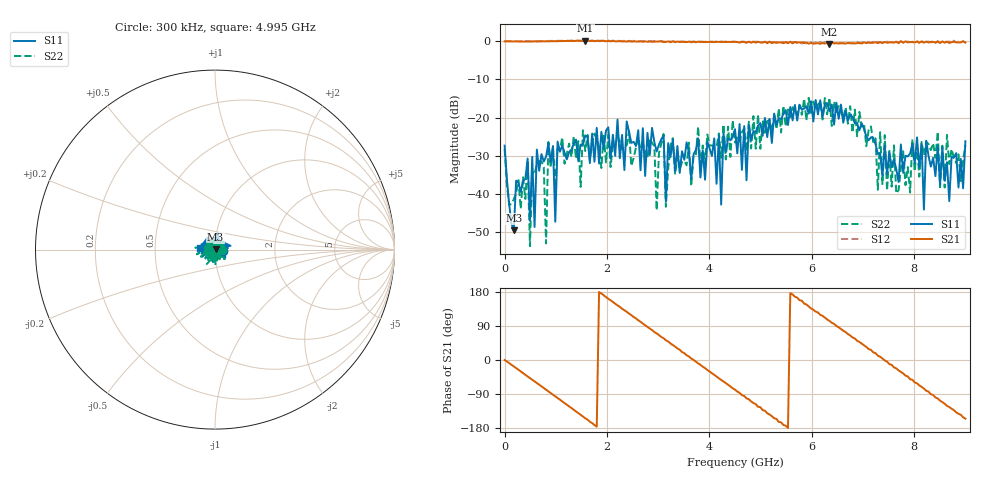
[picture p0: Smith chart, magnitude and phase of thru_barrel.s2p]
!Agilent Technologies,E8358A,US40210021,A.06.04.30
!Agilent E8358A: A.06.04.30
!Date: Sunday, April 15, 2018 12:17:16
!Correction: S11(Full 2 Port(1,2)) S21(Full 2 Port(1,2)) S12(Full 2 Port(1,2)) S22(Full 2 Port(1,2))
!S2P File: Measurements: S11, S21, S12, S22:
# Hz S  RI  R 50
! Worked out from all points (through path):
!   201 points, 300 kHz to 9 GHz, reference 50 ohm
!   highest |S21| = 0.14 dB at 1.575 GHz (marker M1); lowest = -0.7 dB at 6.345 GHz (marker M2)
!   group delay of S21, straight-line fit = 270 ps
!   lowest |S11| = -49.5 dB at 180.3 MHz (marker M3), VSWR 1.01, Z = 50.3 + j0.106 ohm
!   |S11| at or under -10 dB: start of sweep to end of sweep
!   |S22| runs from -53.6 to -14.8 dB; largest |S21 - S12| = 0.059
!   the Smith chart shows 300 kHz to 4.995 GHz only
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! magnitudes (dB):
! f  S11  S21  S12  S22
! 300 kHz  -27.3  0.0  0.1  -28.2
! 180.3 MHz  -49.5  0.0  0.1  -41.3
! 450.3 MHz  -30.7  -0.1  0.1  -31.2
! 495.3 MHz  -46.9  -0.1  0.1  -53.6
! 720.3 MHz  -29.5  0.0  0.1  -31.5
! 810.3 MHz  -30.2  0.0  0.1  -52.9
! 855.3 MHz  -26.7  0.0  0.1  -26.3
! 990.3 MHz  -47.2  0.0  0.1  -38.4
! 1.035 GHz  -26.3  0.0  0.1  -27.4
! 1.53 GHz  -27.1  0.1  0.2  -23.3
! 1.575 GHz  -24.7  0.1  0.2  -28.8
! 3.015 GHz  -27.1  -0.1  0.0  -29.2
! 4.185 GHz  -24.7  -0.2  -0.2  -24.1
! 4.23 GHz  -42.8  -0.2  0.0  -30.5
! 4.5 GHz  -23.0  -0.2  -0.1  -26.5
! 6.03 GHz  -21.0  -0.6  -0.5  -15.8
! 6.345 GHz  -18.3  -0.7  -0.5  -14.8
! 7.515 GHz  -29.0  -0.3  -0.2  -28.7
! 8.145 GHz  -26.8  0.0  -0.1  -26.4
! 8.19 GHz  -44.1  -0.4  0.0  -29.8
! 8.235 GHz  -26.0  -0.1  -0.2  -26.3
! 9 GHz  -26.2  -0.4  -0.3  -27.2
